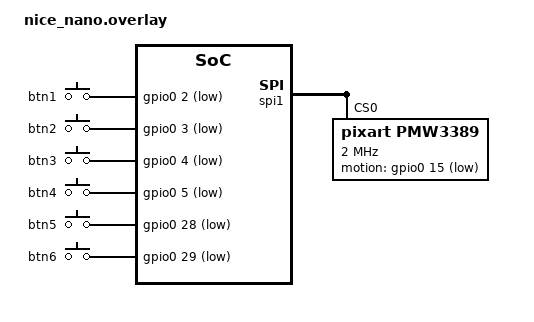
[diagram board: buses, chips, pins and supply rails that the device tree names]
/ {
    chosen {
        zmk,kscan = &buttons;
    };

    buttons {
        compatible = "gpio-keys";

        btn1: button_1 { gpios = <&gpio0 2 GPIO_ACTIVE_LOW>; };
        btn2: button_2 { gpios = <&gpio0 3 GPIO_ACTIVE_LOW>; };
        btn3: button_3 { gpios = <&gpio0 4 GPIO_ACTIVE_LOW>; };
        btn4: button_4 { gpios = <&gpio0 5 GPIO_ACTIVE_LOW>; };
        btn5: button_5 { gpios = <&gpio0 28 GPIO_ACTIVE_LOW>; };
        btn6: button_6 { gpios = <&gpio0 29 GPIO_ACTIVE_LOW>; };
    };
};

&spi1 {
    status = "okay";

    pmw3389: pmw3389@0 {
        compatible = "pixart,pmw3389";
        reg = <0>;
        spi-max-frequency = <2000000>;

        cs-gpios = <&gpio0 6 GPIO_ACTIVE_LOW>;
        motion-gpios = <&gpio0 15 GPIO_ACTIVE_LOW>;
    };
};

/ {
    pointing {
        compatible = "zmk,pointing-device";
        device = <&pmw3389>;
    };
};
